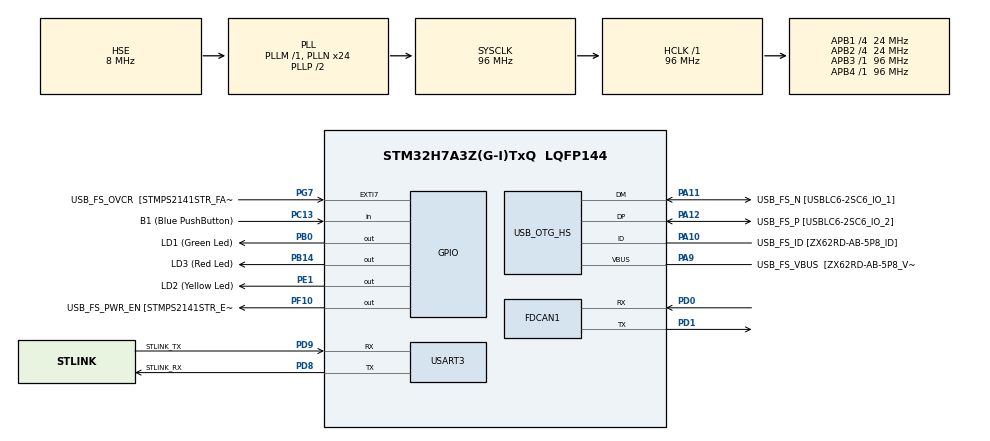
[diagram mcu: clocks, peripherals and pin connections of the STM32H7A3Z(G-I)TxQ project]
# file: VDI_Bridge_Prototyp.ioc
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FDCAN1.AutoRetransmission=ENABLE
FDCAN1.CalculateBaudRateNominal=500000
FDCAN1.CalculateTimeBitNominal=2000
FDCAN1.CalculateTimeQuantumNominal=333.3333333333333
FDCAN1.DataPrescaler=1
FDCAN1.NominalPrescaler=16
FDCAN1.NominalTimeSeg1=3
FDCAN1.NominalTimeSeg2=2
FDCAN1.TxFifoQueueElmtsNbr=1
Mcu.Family=STM32H7
Mcu.Name=STM32H7A3Z(G-I)TxQ
Mcu.Package=LQFP144
NVIC.PriorityGroup=NVIC_PRIORITYGROUP_4
NVIC.TIM1_UP_IRQn=true\:0\:0\:false\:false\:true\:true\:true\:true
PA10.GPIO_Label=USB_FS_ID [ZX62RD-AB-5P8_ID]
PA10.Mode=OTG/Dual-Role-Device-FS
PA10.Signal=USB_OTG_HS_ID
PA11.GPIO_Label=USB_FS_N [USBLC6-2SC6_IO_1]
PA11.Mode=OTG/Dual-Role-Device-FS
PA11.Signal=USB_OTG_HS_DM
PA12.GPIO_Label=USB_FS_P [USBLC6-2SC6_IO_2]
PA12.Mode=OTG/Dual-Role-Device-FS
PA12.Signal=USB_OTG_HS_DP
PA9.GPIO_Label=USB_FS_VBUS  [ZX62RD-AB-5P8_VBUS]
PA9.Mode=Activate_VBUS_FS
PA9.Signal=USB_OTG_HS_VBUS
PB0.GPIO_Label=LD1 (Green Led)
PB0.Signal=GPIO_Output
PB14.GPIO_Label=LD3 (Red Led)
PB14.Signal=GPIO_Output
PC13.GPIO_Label=B1 (Blue PushButton)
PC13.Signal=GPIO_Input
PC14-OSC32_IN.GPIO_Label=OSC32_IN
PC14-OSC32_IN.Mode=LSE-External-Oscillator
PC14-OSC32_IN.Signal=RCC_OSC32_IN
PC15-OSC32_OUT.GPIO_Label=OSC32_OUT
PC15-OSC32_OUT.Mode=LSE-External-Oscillator
PC15-OSC32_OUT.Signal=RCC_OSC32_OUT
PD0.Mode=FDCAN_Activate
PD0.Signal=FDCAN1_RX
PD1.Mode=FDCAN_Activate
PD1.Signal=FDCAN1_TX
PD8.GPIO_Label=STLINK_RX
PD8.Mode=Asynchronous
PD8.Signal=USART3_TX
PD9.GPIO_Label=STLINK_TX
PD9.Mode=Asynchronous
PD9.Signal=USART3_RX
PE1.GPIO_Label=LD2 (Yellow Led)
PE1.Signal=GPIO_Output
PF10.GPIO_Label=USB_FS_PWR_EN [STMPS2141STR_EN]
PF10.Signal=GPIO_Output
PG7.GPIO_Label=USB_FS_OVCR  [STMPS2141STR_FAULT]
PG7.Signal=GPXTI7
PH0-OSC_IN.GPIO_Label=PH0-MCU
PH0-OSC_IN.Mode=HSE-External-Clock-Source
PH0-OSC_IN.Signal=RCC_OSC_IN
PH1-OSC_OUT.GPIO_Label=PH1-MCU
PH1-OSC_OUT.Signal=RCC_OSC_OUT
ProjectManager.HeapSize=0x200
ProjectManager.StackSize=0x400
ProjectManager.TargetToolchain=STM32CubeIDE
RCC.ADCFreq_Value=16125000
RCC.APB1Freq_Value=24000000
RCC.APB2Freq_Value=24000000
RCC.APB3Freq_Value=96000000
RCC.APB4Freq_Value=96000000
RCC.CDPPRE1=RCC_APB1_DIV4
RCC.CDPPRE2=RCC_APB2_DIV4
RCC.CortexFreq_Value=96000000
RCC.DIVM1=1
RCC.DIVM3=1
RCC.DIVN1=24
RCC.DIVN3=24
RCC.DIVQ1=4
RCC.HCLKFreq_Value=96000000
RCC.HSE_VALUE=8000000
RCC.PLLFRACN=0
RCC.PLLSourceVirtual=RCC_PLLSOURCE_HSE
RCC.PWR_Regulator_Voltage_Scale=PWR_REGULATOR_VOLTAGE_SCALE0
RCC.SYSCLKFreq_VALUE=96000000
RCC.SYSCLKSource=RCC_SYSCLKSOURCE_PLLCLK
RCC.SupplySource=PWR_DIRECT_SMPS_SUPPLY
RCC.USBCLockSelection=RCC_USBCLKSOURCE_HSI48
RCC.USBFreq_Value=48000000
TIM1.Period=100-1
TIM1.Prescaler=48000-1
USART3.VirtualMode-Asynchronous=VM_ASYNC
VP_MEMORYMAP_VS_MEMORYMAP.Mode=CurAppReg
VP_TIM1_VS_ClockSourceINT.Mode=Internal
board=NUCLEO-H7A3ZI-Q

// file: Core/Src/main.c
/* USER CODE BEGIN Header */
/**
 ******************************************************************************
 * @file           : main.c
 * @brief          : Main program body
 ******************************************************************************
 * @attention
 *
 * Copyright (c) 2024 STMicroelectronics.
 * All rights reserved.
 *
 * This software is licensed under terms that can be found in the LICENSE file
 * in the root directory of this software component.
 * If no LICENSE file comes with this software, it is provided AS-IS.
 *
 ******************************************************************************
 */
/* USER CODE END Header */
#include "main.h"

/* USER CODE BEGIN Includes */
#include "stdbool.h"
/* USER CODE END Includes */

FDCAN_HandleTypeDef hfdcan1;

TIM_HandleTypeDef htim1;

UART_HandleTypeDef huart3;

/* USER CODE BEGIN PV */
uint8_t TxData[CAN_SIZE];
uint8_t TxDataBEAT[CAN_SIZE];
uint8_t TxDataSTART[CAN_SIZE];

uint8_t RxData[CAN_SIZE];
uint32_t TxMailbox;
FDCAN_TxHeaderTypeDef TxHeader;
FDCAN_TxHeaderTypeDef TxHeaderBEAT;
FDCAN_TxHeaderTypeDef TxHeaderSTART;
FDCAN_RxHeaderTypeDef RxHeader;
/* USER CODE END PV */

void SystemClock_Config(void);
static void MX_GPIO_Init(void);
static void MX_USART3_UART_Init(void);
static void MX_USB_OTG_HS_USB_Init(void);
static void MX_FDCAN1_Init(void);
static void MX_TIM1_Init(void);
/* USER CODE BEGIN PFP */
void FDCAN_Send_Bridge_Start();
void FDCAN_Send_Bridge_Command();

/* USER CODE END PFP */

int main(void) {

	/* MCU Configuration--------------------------------------------------------*/

	/* Reset of all peripherals, Initializes the Flash interface and the Systick. */
	HAL_Init();

	/* Configure the system clock */
	SystemClock_Config();

	/* Initialize all configured peripherals */
	MX_GPIO_Init();
	MX_USART3_UART_Init();
	MX_USB_OTG_HS_USB_Init();
	MX_FDCAN1_Init();
	MX_TIM1_Init();
	/* USER CODE BEGIN 2 */
	HAL_FDCAN_Start(&hfdcan1);
	HAL_FDCAN_ActivateNotification(&hfdcan1, FDCAN_IT_RX_FIFO0_NEW_MESSAGE, 0);
	HAL_TIM_Base_Start_IT(&htim1);
	HAL_Delay(100); // nach Init von Can-um Startnode zu senden
	FDCAN_Send_Bridge_Start();
	HAL_Delay(2000); // Nach starten des StartNodes, warte 2 sekunden bis die Freigabe gesendet wird

	/* USER CODE END 2 */

	/* Infinite loop */
	/* USER CODE BEGIN WHILE */
	while (1) {
//		FDCAN_Send_Bridge_Heartbeat();
		FDCAN_Send_Bridge_Command();
		/* USER CODE END WHILE */

	}
}

void SystemClock_Config(void) {
	RCC_OscInitTypeDef RCC_OscInitStruct = { 0 };
	RCC_ClkInitTypeDef RCC_ClkInitStruct = { 0 };

	/*AXI clock gating */
	RCC->CKGAENR = 0xFFFFFFFF;

	/** Supply configuration update enable
	 */
	HAL_PWREx_ConfigSupply(PWR_DIRECT_SMPS_SUPPLY);

	/** Configure the main internal regulator output voltage
	 */
	__HAL_PWR_VOLTAGESCALING_CONFIG(PWR_REGULATOR_VOLTAGE_SCALE0);

	while (!__HAL_PWR_GET_FLAG(PWR_FLAG_VOSRDY)) {
	}

	/** Initializes the RCC Oscillators according to the specified parameters
	 * in the RCC_OscInitTypeDef structure.
	 */
	RCC_OscInitStruct.OscillatorType = RCC_OSCILLATORTYPE_HSI48
			| RCC_OSCILLATORTYPE_HSE;
	RCC_OscInitStruct.HSEState = RCC_HSE_BYPASS;
	RCC_OscInitStruct.HSI48State = RCC_HSI48_ON;
	RCC_OscInitStruct.PLL.PLLState = RCC_PLL_ON;
	RCC_OscInitStruct.PLL.PLLSource = RCC_PLLSOURCE_HSE;
	RCC_OscInitStruct.PLL.PLLM = 1;
	RCC_OscInitStruct.PLL.PLLN = 24;
	RCC_OscInitStruct.PLL.PLLP = 2;
	RCC_OscInitStruct.PLL.PLLQ = 4;
	RCC_OscInitStruct.PLL.PLLR = 2;
	RCC_OscInitStruct.PLL.PLLRGE = RCC_PLL1VCIRANGE_3;
	RCC_OscInitStruct.PLL.PLLVCOSEL = RCC_PLL1VCOWIDE;
	RCC_OscInitStruct.PLL.PLLFRACN = 0;
	if (HAL_RCC_OscConfig(&RCC_OscInitStruct) != HAL_OK) {
		Error_Handler();
	}

	/** Initializes the CPU, AHB and APB buses clocks
	 */
	RCC_ClkInitStruct.ClockType = RCC_CLOCKTYPE_HCLK | RCC_CLOCKTYPE_SYSCLK
			| RCC_CLOCKTYPE_PCLK1 | RCC_CLOCKTYPE_PCLK2 | RCC_CLOCKTYPE_D3PCLK1
			| RCC_CLOCKTYPE_D1PCLK1;
	RCC_ClkInitStruct.SYSCLKSource = RCC_SYSCLKSOURCE_PLLCLK;
	RCC_ClkInitStruct.SYSCLKDivider = RCC_SYSCLK_DIV1;
	RCC_ClkInitStruct.AHBCLKDivider = RCC_HCLK_DIV1;
	RCC_ClkInitStruct.APB3CLKDivider = RCC_APB3_DIV1;
	RCC_ClkInitStruct.APB1CLKDivider = RCC_APB1_DIV4;
	RCC_ClkInitStruct.APB2CLKDivider = RCC_APB2_DIV4;
	RCC_ClkInitStruct.APB4CLKDivider = RCC_APB4_DIV1;

	if (HAL_RCC_ClockConfig(&RCC_ClkInitStruct, FLASH_LATENCY_2) != HAL_OK) {
		Error_Handler();
	}
}

static void MX_FDCAN1_Init(void) {

	hfdcan1.Instance = FDCAN1;
	hfdcan1.Init.FrameFormat = FDCAN_FRAME_CLASSIC;
	hfdcan1.Init.Mode = FDCAN_MODE_NORMAL;
	hfdcan1.Init.AutoRetransmission = ENABLE;
	hfdcan1.Init.TransmitPause = DISABLE;
	hfdcan1.Init.ProtocolException = DISABLE;
	hfdcan1.Init.NominalPrescaler = 16;
	hfdcan1.Init.NominalSyncJumpWidth = 1;
	hfdcan1.Init.NominalTimeSeg1 = 3;
	hfdcan1.Init.NominalTimeSeg2 = 2;
	hfdcan1.Init.DataPrescaler = 1;
	hfdcan1.Init.DataSyncJumpWidth = 1;
	hfdcan1.Init.DataTimeSeg1 = 1;
	hfdcan1.Init.DataTimeSeg2 = 1;
	hfdcan1.Init.MessageRAMOffset = 0;
	hfdcan1.Init.StdFiltersNbr = 0;
	hfdcan1.Init.ExtFiltersNbr = 0;
	hfdcan1.Init.RxFifo0ElmtsNbr = 0;
	hfdcan1.Init.RxFifo0ElmtSize = FDCAN_DATA_BYTES_8;
	hfdcan1.Init.RxFifo1ElmtsNbr = 0;
	hfdcan1.Init.RxFifo1ElmtSize = FDCAN_DATA_BYTES_8;
	hfdcan1.Init.RxBuffersNbr = 0;
	hfdcan1.Init.RxBufferSize = FDCAN_DATA_BYTES_8;
	hfdcan1.Init.TxEventsNbr = 0;
	hfdcan1.Init.TxBuffersNbr = 0;
	hfdcan1.Init.TxFifoQueueElmtsNbr = 1;
	hfdcan1.Init.TxFifoQueueMode = FDCAN_TX_FIFO_OPERATION;
	hfdcan1.Init.TxElmtSize = FDCAN_DATA_BYTES_8;
	if (HAL_FDCAN_Init(&hfdcan1) != HAL_OK) {
		Error_Handler();
	}
	/* USER CODE BEGIN FDCAN1_Init 2 */
	/*
	 * Für 125 Kbit/s
	 */
//  hfdcan1.Init.NominalPrescaler = 16;
//  hfdcan1.Init.NominalSyncJumpWidth = 1;
//  hfdcan1.Init.NominalTimeSeg1 = 16;
//  hfdcan1.Init.NominalTimeSeg2 = 7;
	/*
	 * Für 500 Kbit/s
	 */

//  hfdcan1.Init.NominalPrescaler = 16;
//  hfdcan1.Init.NominalSyncJumpWidth = 1;
//  hfdcan1.Init.NominalTimeSeg1 = 3;
//  hfdcan1.Init.NominalTimeSeg2 = 2;
	/* USER CODE END FDCAN1_Init 2 */

}

static void MX_TIM1_Init(void) {

	TIM_ClockConfigTypeDef sClockSourceConfig = { 0 };
	TIM_MasterConfigTypeDef sMasterConfig = { 0 };

	htim1.Instance = TIM1;
	htim1.Init.Prescaler = 48000 - 1;
	htim1.Init.CounterMode = TIM_COUNTERMODE_UP;
	htim1.Init.Period = 100 - 1;
	htim1.Init.ClockDivision = TIM_CLOCKDIVISION_DIV1;
	htim1.Init.RepetitionCounter = 0;
	htim1.Init.AutoReloadPreload = TIM_AUTORELOAD_PRELOAD_DISABLE;
	if (HAL_TIM_Base_Init(&htim1) != HAL_OK) {
		Error_Handler();
	}
	sClockSourceConfig.ClockSource = TIM_CLOCKSOURCE_INTERNAL;
	if (HAL_TIM_ConfigClockSource(&htim1, &sClockSourceConfig) != HAL_OK) {
		Error_Handler();
	}
	sMasterConfig.MasterOutputTrigger = TIM_TRGO_RESET;
	sMasterConfig.MasterOutputTrigger2 = TIM_TRGO2_RESET;
	sMasterConfig.MasterSlaveMode = TIM_MASTERSLAVEMODE_DISABLE;
	if (HAL_TIMEx_MasterConfigSynchronization(&htim1, &sMasterConfig) != HAL_OK) {
		Error_Handler();
	}

}

static void MX_USART3_UART_Init(void) {

	huart3.Instance = USART3;
	huart3.Init.BaudRate = 115200;
	huart3.Init.WordLength = UART_WORDLENGTH_8B;
	huart3.Init.StopBits = UART_STOPBITS_1;
	huart3.Init.Parity = UART_PARITY_NONE;
	huart3.Init.Mode = UART_MODE_TX_RX;
	huart3.Init.HwFlowCtl = UART_HWCONTROL_NONE;
	huart3.Init.OverSampling = UART_OVERSAMPLING_16;
	huart3.Init.OneBitSampling = UART_ONE_BIT_SAMPLE_DISABLE;
	huart3.Init.ClockPrescaler = UART_PRESCALER_DIV1;
	huart3.AdvancedInit.AdvFeatureInit = UART_ADVFEATURE_NO_INIT;
	if (HAL_UART_Init(&huart3) != HAL_OK) {
		Error_Handler();
	}
	if (HAL_UARTEx_SetTxFifoThreshold(&huart3, UART_TXFIFO_THRESHOLD_1_8)
			!= HAL_OK) {
		Error_Handler();
	}
	if (HAL_UARTEx_SetRxFifoThreshold(&huart3, UART_RXFIFO_THRESHOLD_1_8)
			!= HAL_OK) {
		Error_Handler();
	}
	if (HAL_UARTEx_DisableFifoMode(&huart3) != HAL_OK) {
		Error_Handler();
	}

}

static void MX_USB_OTG_HS_USB_Init(void) {

}

static void MX_GPIO_Init(void) {
	GPIO_InitTypeDef GPIO_InitStruct = { 0 };

	/* GPIO Ports Clock Enable */
	__HAL_RCC_GPIOC_CLK_ENABLE();
	__HAL_RCC_GPIOF_CLK_ENABLE();
	__HAL_RCC_GPIOH_CLK_ENABLE();
	__HAL_RCC_GPIOB_CLK_ENABLE();
	__HAL_RCC_GPIOD_CLK_ENABLE();
	__HAL_RCC_GPIOG_CLK_ENABLE();
	__HAL_RCC_GPIOA_CLK_ENABLE();
	__HAL_RCC_GPIOE_CLK_ENABLE();

	/*Configure GPIO pin Output Level */
	HAL_GPIO_WritePin(USB_FS_PWR_EN_GPIO_Port, USB_FS_PWR_EN_Pin, GPIO_PIN_RESET);

	/*Configure GPIO pin Output Level */
	HAL_GPIO_WritePin(GPIOB, LD1_Pin | LD3_Pin, GPIO_PIN_RESET);

	/*Configure GPIO pin Output Level */
	HAL_GPIO_WritePin(LD2_GPIO_Port, LD2_Pin, GPIO_PIN_RESET);

	/*Configure GPIO pin : B1_Pin */
	GPIO_InitStruct.Pin = B1_Pin;
	GPIO_InitStruct.Mode = GPIO_MODE_INPUT;
	GPIO_InitStruct.Pull = GPIO_NOPULL;
	HAL_GPIO_Init(B1_GPIO_Port, &GPIO_InitStruct);

	/*Configure GPIO pin : USB_FS_PWR_EN_Pin */
	GPIO_InitStruct.Pin = USB_FS_PWR_EN_Pin;
	GPIO_InitStruct.Mode = GPIO_MODE_OUTPUT_PP;
	GPIO_InitStruct.Pull = GPIO_NOPULL;
	GPIO_InitStruct.Speed = GPIO_SPEED_FREQ_LOW;
	HAL_GPIO_Init(USB_FS_PWR_EN_GPIO_Port, &GPIO_InitStruct);

	/*Configure GPIO pins : LD1_Pin LD3_Pin */
	GPIO_InitStruct.Pin = LD1_Pin | LD3_Pin;
	GPIO_InitStruct.Mode = GPIO_MODE_OUTPUT_PP;
	GPIO_InitStruct.Pull = GPIO_NOPULL;
	GPIO_InitStruct.Speed = GPIO_SPEED_FREQ_LOW;
	HAL_GPIO_Init(GPIOB, &GPIO_InitStruct);

	/*Configure GPIO pin : USB_FS_OVCR_Pin */
	GPIO_InitStruct.Pin = USB_FS_OVCR_Pin;
	GPIO_InitStruct.Mode = GPIO_MODE_IT_RISING;
	GPIO_InitStruct.Pull = GPIO_NOPULL;
	HAL_GPIO_Init(USB_FS_OVCR_GPIO_Port, &GPIO_InitStruct);

	/*Configure GPIO pin : USB_FS_VBUS_Pin */
	GPIO_InitStruct.Pin = USB_FS_VBUS_Pin;
	GPIO_InitStruct.Mode = GPIO_MODE_INPUT;
	GPIO_InitStruct.Pull = GPIO_NOPULL;
	HAL_GPIO_Init(USB_FS_VBUS_GPIO_Port, &GPIO_InitStruct);

	/*Configure GPIO pin : USB_FS_ID_Pin */
	GPIO_InitStruct.Pin = USB_FS_ID_Pin;
	GPIO_InitStruct.Mode = GPIO_MODE_AF_PP;
	GPIO_InitStruct.Pull = GPIO_NOPULL;
	GPIO_InitStruct.Speed = GPIO_SPEED_FREQ_LOW;
	GPIO_InitStruct.Alternate = GPIO_AF10_OTG1_HS;
	HAL_GPIO_Init(USB_FS_ID_GPIO_Port, &GPIO_InitStruct);

	/*Configure GPIO pins : USB_FS_N_Pin USB_FS_P_Pin */
	GPIO_InitStruct.Pin = USB_FS_N_Pin | USB_FS_P_Pin;
	GPIO_InitStruct.Mode = GPIO_MODE_AF_PP;
	GPIO_InitStruct.Pull = GPIO_NOPULL;
	GPIO_InitStruct.Speed = GPIO_SPEED_FREQ_LOW;
	HAL_GPIO_Init(GPIOA, &GPIO_InitStruct);

	/*Configure GPIO pin : LD2_Pin */
	GPIO_InitStruct.Pin = LD2_Pin;
	GPIO_InitStruct.Mode = GPIO_MODE_OUTPUT_PP;
	GPIO_InitStruct.Pull = GPIO_NOPULL;
	GPIO_InitStruct.Speed = GPIO_SPEED_FREQ_LOW;
	HAL_GPIO_Init(LD2_GPIO_Port, &GPIO_InitStruct);

}

/* USER CODE BEGIN 4 */

void FDCAN_Send_Bridge_Start() {
	//Kommando aufbauen
	TxHeaderSTART.Identifier = VDI_CAN_ID_START;
	TxHeaderSTART.IdType = FDCAN_STANDARD_ID;
	TxHeaderSTART.TxFrameType = FDCAN_DATA_FRAME;
	TxHeaderSTART.DataLength = FDCAN_DLC_BYTES_2;
	TxHeaderSTART.FDFormat = FDCAN_CLASSIC_CAN;

	TxDataSTART[0] = 0x01; // Laut VDI-RICHTLINIEN - Tabelle C4 - Seite 12-13
	TxDataSTART[1] = 0x15; // Laut VDI-RICHTLINIEN - Tabelle C4 - Seite 12-13

// Fragen ob FdCan bereit zum senden, sonst warten, Led Aus

	 HAL_FDCAN_AddMessageToTxFifoQ(&hfdcan1, &TxHeaderSTART, TxDataSTART) ;
		// Kommando senden, Led Ein
//		HAL_GPIO_WritePin(LD2_GPIO_Port, LD2_Pin, GPIO_PIN_SET);
//	} else {
//		HAL_GPIO_TogglePin(LD2_GPIO_Port, LD2_Pin);
	HAL_Delay(250);
}
void FDCAN_Send_Bridge_Command() {

	//Kommando aufbauen
	TxHeader.Identifier = VDI_CAN_ID_LOGIN;
	TxHeader.IdType = FDCAN_STANDARD_ID;
	TxHeader.TxFrameType = FDCAN_DATA_FRAME;
	TxHeader.DataLength = FDCAN_DLC_BYTES_1;
	TxHeader.FDFormat = FDCAN_CLASSIC_CAN;

	TxData[0] = 0x01; // Freigabe: Laut VDI-RICHTLINIEN - Tabelle C4 - Seite 12-13

// Fragen ob FdCan bereit zum senden, sonst warten, Led Aus

	HAL_Delay(100);
	if (HAL_FDCAN_AddMessageToTxFifoQ(&hfdcan1, &TxHeader, TxData) == HAL_OK) {
		// Kommando senden, Led Ein
		HAL_GPIO_WritePin(LD2_GPIO_Port, LD2_Pin, GPIO_PIN_SET);
	} else {
		HAL_GPIO_TogglePin(LD2_GPIO_Port, LD2_Pin);
	}
}

void FDCAN_Send_Bridge_Heartbeat() {
	//Kommando aufbauen
	TxHeaderBEAT.Identifier = VDI_CAN_ID_HEARTBEAT;
	TxHeaderBEAT.IdType = FDCAN_STANDARD_ID;
	TxHeaderBEAT.TxFrameType = FDCAN_DATA_FRAME;
	TxHeaderBEAT.DataLength = FDCAN_DLC_BYTES_1;
	TxHeaderBEAT.FDFormat = FDCAN_CLASSIC_CAN;

	TxDataBEAT[0] = 0x05; // Laut VDI-RICHTLINIEN - Seite 9- CANopen Protokol

// Fragen ob FdCan bereit zum senden, sonst warten, Led Aus

	if (HAL_FDCAN_AddMessageToTxFifoQ(&hfdcan1, &TxHeaderBEAT, TxDataBEAT)
			== HAL_OK) {
		// Kommando senden, Led Ein
//		HAL_GPIO_WritePin(LD2_GPIO_Port, LD2_Pin, GPIO_PIN_SET);
	}
//	else {
//		HAL_GPIO_TogglePin(LD2_GPIO_Port, LD2_Pin);
//	}
}

/* USER CODE END 4 */

void Error_Handler(void) {
	__disable_irq();
	while (1) {
	}
}
